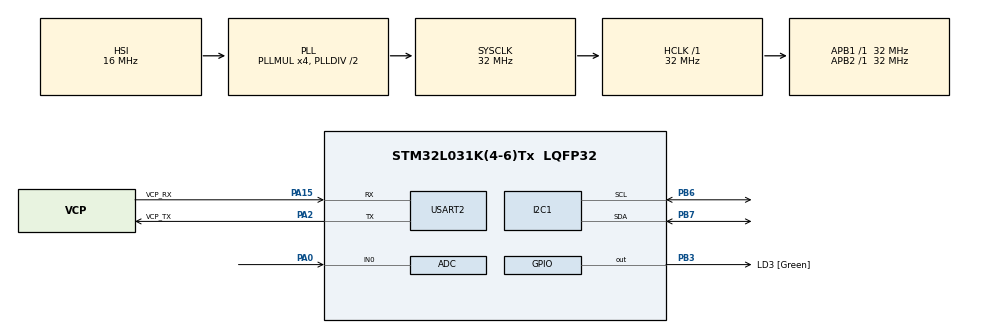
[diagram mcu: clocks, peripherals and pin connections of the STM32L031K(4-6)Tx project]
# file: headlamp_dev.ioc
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ADC.ContinuousConvMode=ENABLE
ADC.Resolution=ADC_RESOLUTION_8B
I2C1.Timing=0x00707CBB
Mcu.Family=STM32L0
Mcu.Name=STM32L031K(4-6)Tx
Mcu.Package=LQFP32
NVIC.TIM21_IRQn=true\:0\:0\:false\:false\:true\:true\:true
PA0-CK_IN.Mode=IN0
PA0-CK_IN.Signal=ADC_IN0
PA13.GPIO_Label=TMS
PA13.Mode=Serial_Wire
PA13.Signal=SYS_SWDIO
PA14.GPIO_Label=TCK
PA14.Mode=Serial_Wire
PA14.Signal=SYS_SWCLK
PA15.GPIO_Label=VCP_RX
PA15.Mode=Asynchronous
PA15.Signal=USART2_RX
PA2.GPIO_Label=VCP_TX
PA2.Mode=Asynchronous
PA2.Signal=USART2_TX
PB3.GPIO_Label=LD3 [Green]
PB3.Signal=GPIO_Output
PB6.Mode=I2C
PB6.Signal=I2C1_SCL
PB7.Mode=I2C
PB7.Signal=I2C1_SDA
PC14-OSC32_IN.Mode=LSE-External-Oscillator
PC14-OSC32_IN.Signal=RCC_OSC32_IN
PC15-OSC32_OUT.Mode=LSE-External-Oscillator
PC15-OSC32_OUT.Signal=RCC_OSC32_OUT
ProjectManager.HeapSize=0x200
ProjectManager.StackSize=0x400
ProjectManager.TargetToolchain=SW4STM32
RCC.AHBFreq_Value=32000000
RCC.APB1Freq_Value=32000000
RCC.APB1TimFreq_Value=32000000
RCC.APB2Freq_Value=32000000
RCC.APB2TimFreq_Value=32000000
RCC.HCLKFreq_Value=32000000
RCC.HSE_VALUE=8000000
RCC.HSI16_VALUE=16000000
RCC.HSI48_VALUE=48000000
RCC.HSI_VALUE=16000000
RCC.MSI_VALUE=2097000
RCC.PLLMUL=RCC_PLLMUL_4
RCC.SYSCLKFreq_VALUE=32000000
RCC.SYSCLKSource=RCC_SYSCLKSOURCE_PLLCLK
RCC.VCOOutputFreq_Value=64000000
TIM21.AutoReloadPreload=TIM_AUTORELOAD_PRELOAD_ENABLE
TIM21.Prescaler=32000
USART2.VirtualMode-Asynchronous=VM_ASYNC
VP_TIM21_VS_ClockSourceINT.Mode=Internal
board=NUCLEO-L031K6

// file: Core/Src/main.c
/* USER CODE BEGIN Header */
/**
  ******************************************************************************
  * @file           : main.c
  * @brief          : Main program body
  ******************************************************************************
  * @attention
  *
  * <h2><center>&copy; Copyright (c) 2021 STMicroelectronics.
  * All rights reserved.</center></h2>
  *
  * This software component is licensed by ST under BSD 3-Clause license,
  * the "License"; You may not use this file except in compliance with the
  * License. You may obtain a copy of the License at:
  *                        opensource.org/licenses/BSD-3-Clause
  *
  ******************************************************************************
  */
/* USER CODE END Header */
#include "main.h"

/* USER CODE BEGIN Includes */
#include "mpu_util.h"
//#include <stdio.h>
#include <math.h>
/* USER CODE END Includes */

ADC_HandleTypeDef hadc;

I2C_HandleTypeDef hi2c1;

TIM_HandleTypeDef htim21;

UART_HandleTypeDef huart2;

void SystemClock_Config(void);
static void MX_GPIO_Init(void);
static void MX_USART2_UART_Init(void);
static void MX_I2C1_Init(void);
static void MX_TIM21_Init(void);
static void MX_ADC_Init(void);

/* USER CODE BEGIN 0 */
int __io_putchar(int ch)
{
    HAL_UART_Transmit(&huart2, (uint8_t*)&ch, 1, 1000);
    return 0;
}

HAL_StatusTypeDef init_mpu6050()
{
    HAL_StatusTypeDef err = 0;
    uint8_t who = 0;

    /*
     * check to see if the mpu6050 is connected
     * this should return a value of '104'
     * for who if its working. Doesn't need to be
     * powered on for this to work
     */
    err = HAL_I2C_Mem_Read(
		   &hi2c1
		  , MPU_I2C_ADDRESS
		  , MPU_WHO_AM_I
		  , 1 // mem address size
		  , &who
		  , 1 // buff size
		  , 1000 // timeout
		  );
    if(err)
    	return err;

    /*
     * set the power register to on
     */
    uint8_t pwr_reg_val = 0;
    err = HAL_I2C_Mem_Write(
    		  &hi2c1
			, MPU_I2C_ADDRESS
			, MPU_PWR_MGMT_1
			, 1 // mem address size
			, &pwr_reg_val
			, 1 //buff size
			, 1000 // time out
			);
    if(err)
    	return err;
    /*
     * set the sample rate
     * sample rate = gyro rate / (1 + sample reg)
     * if DLPF is off gyro = 8khz if on gyro = 1khz
     */
    uint8_t sample_rate = 0;
    err = HAL_I2C_Mem_Write(
    		  &hi2c1
			, MPU_I2C_ADDRESS
			, MPU_SMPLRT_DIV
			, 1 // mem address size
			, &sample_rate
			, 1 //buff size
			, 1000 // time out
			);
    if(err)
    	return err;

    /*
     * configure the gyro
     * no self test XG_ST = 0 YG_ST = 0 ZG_ST = 0
     * lowest full range scale GFS_SEL = 0 => +-250 deg/sec
     */
    uint8_t gyro_config = 0;
    err = HAL_I2C_Mem_Write(
    		  &hi2c1
			, MPU_I2C_ADDRESS
			, MPU_GYRO_CONFIG
			, 1 // mem address size
			, &gyro_config
			, 1 //buff size
			, 1000 // time out
			);

    if(err)
    	return err;

    /*
     * configure the accelerometer
     * no self test XA_ST = 0 YA_ST = 0 ZA_ST = 0
     * lowest full range scale AFS_SEL = 0 => +-2g
     */
    uint8_t accel_config = 0;
    err = HAL_I2C_Mem_Write(
    		  &hi2c1
			, MPU_I2C_ADDRESS
			, MPU_ACCEL_CONFIG
			, 1 // mem address size
			, &accel_config
			, 1 //buff size
			, 1000 // time out
			);

    if(err)
    	return err;

    /*
     * configure the digital low pass filter
     */
    uint8_t dlpf_val = 0;
    err = HAL_I2C_Mem_Write(
    		  &hi2c1
			, MPU_I2C_ADDRESS
			, MPU_CONFIG
			, 1 // mem address size
			, &dlpf_val
			, 1 //buff size
			, 1000 // time out
			);
    if(err)
    	return err;

    //printf("Initialization Complete: id %d\r\n", who);
    return 0;
}

HAL_StatusTypeDef get_accel(float* accel_data)
{
	/*
	 * there are 6x 1-byte registers on the mcu6050 for
	 * the accelerometer: X-high X-low Y-high Y-low Z-high Z-low
	 * this will pack the high and low bytes for each into a single
	 * int16
	 */

	HAL_StatusTypeDef err = 0;
	uint8_t accel_buffer[6];
	int16_t accel_vals[3]; // this should be signed?

    err = HAL_I2C_Mem_Read(
		   &hi2c1
		  , MPU_I2C_ADDRESS
		  , MPU_ACCEL_XOUT_H // start at x-high and read 6 after
		  , 1 // mem address size
		  , accel_buffer
		  , 6 // buff size
		  , 1000 // timeout
		  );
    if(err)
    	return err;

    accel_vals[0] = (uint16_t)(accel_buffer[0] << 8  | accel_buffer[1]);
    accel_vals[1] = (uint16_t)(accel_buffer[2] << 8  | accel_buffer[3]);
    accel_vals[2] = (uint16_t)(accel_buffer[4] << 8  | accel_buffer[5]);

    for(int ii = 0; ii < 3; ++ii)
    {
		accel_data[ii] = accel_vals[ii] / 16384.0;
    }

	return err;
}

HAL_StatusTypeDef get_gyro(float* gyro_data)
{
	HAL_StatusTypeDef err = 0;
	uint8_t gyro_buffer[6];
	int16_t gyro_vals[3]; // this should be signed?

    err = HAL_I2C_Mem_Read(
		   &hi2c1
		  , MPU_I2C_ADDRESS
		  , MPU_GYRO_XOUT_H // start at x-high and read 6 after
		  , 1 // mem address size
		  , gyro_buffer
		  , 6 // buff size
		  , 1000 // timeout
		  );
    if(err)
    	return err;

    gyro_vals[0] = (uint16_t)(gyro_buffer[0] << 8  | gyro_buffer[1]);
    gyro_vals[1] = (uint16_t)(gyro_buffer[2] << 8  | gyro_buffer[3]);
    gyro_vals[2] = (uint16_t)(gyro_buffer[4] << 8  | gyro_buffer[5]);

    for(int ii = 0; ii < 3; ++ii)
    {
		gyro_data[ii] = gyro_vals[ii] / 131.0;
    }

	return err;
}

/* USER CODE END 0 */

int main(void)
{
  /* USER CODE BEGIN 1 */
	uint32_t time_a, time_b;
	  float accel_angle_x, angle_x = 0;
	  float adc_val;
	  float accel_data[3];
	  float gyro_data[3];
	  int err = 0;
	  uint32_t adc_val_raw;

  /* USER CODE END 1 */

  /* MCU Configuration--------------------------------------------------------*/

  /* Reset of all peripherals, Initializes the Flash interface and the Systick. */
  HAL_Init();

  /* Configure the system clock */
  SystemClock_Config();

  /* Initialize all configured peripherals */
  MX_GPIO_Init();
  MX_USART2_UART_Init();
  MX_I2C1_Init();
  MX_TIM21_Init();
  MX_ADC_Init();
  /* USER CODE BEGIN 2 */
	HAL_TIM_Base_Start(&htim21);

	err = init_mpu6050();
	if(err)
	{
		//printf("ERROR in init: %d", err);
		while(1);
	}
	get_accel(accel_data);
	angle_x  = 180  /  M_PI* atan2(accel_data[2],accel_data[0]);
	HAL_ADC_Start(&hadc);
  /* USER CODE END 2 */

  /* Infinite loop */
  /* USER CODE BEGIN WHILE */
  while (1)
  {
	  time_a = htim21.Instance->CNT;
	  get_accel(accel_data);
	  get_gyro(gyro_data);
	  adc_val_raw = HAL_ADC_GetValue(&hadc);
	  adc_val = adc_val_raw * 180.0 / 256;
//	  printf("xa: %f ya: %f za: %f  ", accel_data[0], accel_data[1], accel_data[2]);
//	  printf("xg: %f yg: %f zg: %f  ", gyro_data[0], gyro_data[1], gyro_data[2]);
//	  HAL_Delay(100);

        //printf("angle %f \r\n", angle_x);
	  if(adc_val < angle_x)
	      HAL_GPIO_WritePin(GPIOB, GPIO_PIN_3, GPIO_PIN_SET);
	  else
	      HAL_GPIO_WritePin(GPIOB, GPIO_PIN_3, GPIO_PIN_RESET);

	  time_b = htim21.Instance->CNT;
	  time_a = time_b - time_a;

	  //HAL_GPIO_TogglePin( GPIOB, GPIO_PIN_3);
	  //printf("time %lu \r\n", time_a);
		accel_angle_x  = 180  /  M_PI* atan2(accel_data[1],accel_data[2]);
		angle_x = 0.98 * (angle_x + (gyro_data[0] * time_a / 1000.0)) + (.02 * accel_angle_x);

	  //printf("%lu\r\n", adc_val);
    /* USER CODE END WHILE */

  }
}

void SystemClock_Config(void)
{
  RCC_OscInitTypeDef RCC_OscInitStruct = {0};
  RCC_ClkInitTypeDef RCC_ClkInitStruct = {0};
  RCC_PeriphCLKInitTypeDef PeriphClkInit = {0};

  /** Configure the main internal regulator output voltage
  */
  __HAL_PWR_VOLTAGESCALING_CONFIG(PWR_REGULATOR_VOLTAGE_SCALE1);
  /** Initializes the RCC Oscillators according to the specified parameters
  * in the RCC_OscInitTypeDef structure.
  */
  RCC_OscInitStruct.OscillatorType = RCC_OSCILLATORTYPE_HSI;
  RCC_OscInitStruct.HSIState = RCC_HSI_ON;
  RCC_OscInitStruct.HSICalibrationValue = RCC_HSICALIBRATION_DEFAULT;
  RCC_OscInitStruct.PLL.PLLState = RCC_PLL_ON;
  RCC_OscInitStruct.PLL.PLLSource = RCC_PLLSOURCE_HSI;
  RCC_OscInitStruct.PLL.PLLMUL = RCC_PLLMUL_4;
  RCC_OscInitStruct.PLL.PLLDIV = RCC_PLLDIV_2;
  if (HAL_RCC_OscConfig(&RCC_OscInitStruct) != HAL_OK)
  {
    Error_Handler();
  }
  /** Initializes the CPU, AHB and APB buses clocks
  */
  RCC_ClkInitStruct.ClockType = RCC_CLOCKTYPE_HCLK|RCC_CLOCKTYPE_SYSCLK
                              |RCC_CLOCKTYPE_PCLK1|RCC_CLOCKTYPE_PCLK2;
  RCC_ClkInitStruct.SYSCLKSource = RCC_SYSCLKSOURCE_PLLCLK;
  RCC_ClkInitStruct.AHBCLKDivider = RCC_SYSCLK_DIV1;
  RCC_ClkInitStruct.APB1CLKDivider = RCC_HCLK_DIV1;
  RCC_ClkInitStruct.APB2CLKDivider = RCC_HCLK_DIV1;

  if (HAL_RCC_ClockConfig(&RCC_ClkInitStruct, FLASH_LATENCY_1) != HAL_OK)
  {
    Error_Handler();
  }
  PeriphClkInit.PeriphClockSelection = RCC_PERIPHCLK_USART2|RCC_PERIPHCLK_I2C1;
  PeriphClkInit.Usart2ClockSelection = RCC_USART2CLKSOURCE_PCLK1;
  PeriphClkInit.I2c1ClockSelection = RCC_I2C1CLKSOURCE_PCLK1;
  if (HAL_RCCEx_PeriphCLKConfig(&PeriphClkInit) != HAL_OK)
  {
    Error_Handler();
  }
}

static void MX_ADC_Init(void)
{

  ADC_ChannelConfTypeDef sConfig = {0};

  /** Configure the global features of the ADC (Clock, Resolution, Data Alignment and number of conversion)
  */
  hadc.Instance = ADC1;
  hadc.Init.OversamplingMode = DISABLE;
  hadc.Init.ClockPrescaler = ADC_CLOCK_SYNC_PCLK_DIV2;
  hadc.Init.Resolution = ADC_RESOLUTION_8B;
  hadc.Init.SamplingTime = ADC_SAMPLETIME_1CYCLE_5;
  hadc.Init.ScanConvMode = ADC_SCAN_DIRECTION_FORWARD;
  hadc.Init.DataAlign = ADC_DATAALIGN_RIGHT;
  hadc.Init.ContinuousConvMode = ENABLE;
  hadc.Init.DiscontinuousConvMode = DISABLE;
  hadc.Init.ExternalTrigConvEdge = ADC_EXTERNALTRIGCONVEDGE_NONE;
  hadc.Init.ExternalTrigConv = ADC_SOFTWARE_START;
  hadc.Init.DMAContinuousRequests = DISABLE;
  hadc.Init.EOCSelection = ADC_EOC_SINGLE_CONV;
  hadc.Init.Overrun = ADC_OVR_DATA_PRESERVED;
  hadc.Init.LowPowerAutoWait = DISABLE;
  hadc.Init.LowPowerFrequencyMode = DISABLE;
  hadc.Init.LowPowerAutoPowerOff = DISABLE;
  if (HAL_ADC_Init(&hadc) != HAL_OK)
  {
    Error_Handler();
  }
  /** Configure for the selected ADC regular channel to be converted.
  */
  sConfig.Channel = ADC_CHANNEL_0;
  sConfig.Rank = ADC_RANK_CHANNEL_NUMBER;
  if (HAL_ADC_ConfigChannel(&hadc, &sConfig) != HAL_OK)
  {
    Error_Handler();
  }

}

static void MX_I2C1_Init(void)
{

  hi2c1.Instance = I2C1;
  hi2c1.Init.Timing = 0x00707CBB;
  hi2c1.Init.OwnAddress1 = 0;
  hi2c1.Init.AddressingMode = I2C_ADDRESSINGMODE_7BIT;
  hi2c1.Init.DualAddressMode = I2C_DUALADDRESS_DISABLE;
  hi2c1.Init.OwnAddress2 = 0;
  hi2c1.Init.OwnAddress2Masks = I2C_OA2_NOMASK;
  hi2c1.Init.GeneralCallMode = I2C_GENERALCALL_DISABLE;
  hi2c1.Init.NoStretchMode = I2C_NOSTRETCH_DISABLE;
  if (HAL_I2C_Init(&hi2c1) != HAL_OK)
  {
    Error_Handler();
  }
  /** Configure Analogue filter
  */
  if (HAL_I2CEx_ConfigAnalogFilter(&hi2c1, I2C_ANALOGFILTER_ENABLE) != HAL_OK)
  {
    Error_Handler();
  }
  /** Configure Digital filter
  */
  if (HAL_I2CEx_ConfigDigitalFilter(&hi2c1, 0) != HAL_OK)
  {
    Error_Handler();
  }

}

static void MX_TIM21_Init(void)
{

  TIM_ClockConfigTypeDef sClockSourceConfig = {0};
  TIM_MasterConfigTypeDef sMasterConfig = {0};

  htim21.Instance = TIM21;
  htim21.Init.Prescaler = 32000;
  htim21.Init.CounterMode = TIM_COUNTERMODE_UP;
  htim21.Init.Period = 65535;
  htim21.Init.ClockDivision = TIM_CLOCKDIVISION_DIV1;
  htim21.Init.AutoReloadPreload = TIM_AUTORELOAD_PRELOAD_ENABLE;
  if (HAL_TIM_Base_Init(&htim21) != HAL_OK)
  {
    Error_Handler();
  }
  sClockSourceConfig.ClockSource = TIM_CLOCKSOURCE_INTERNAL;
  if (HAL_TIM_ConfigClockSource(&htim21, &sClockSourceConfig) != HAL_OK)
  {
    Error_Handler();
  }
  sMasterConfig.MasterOutputTrigger = TIM_TRGO_RESET;
  sMasterConfig.MasterSlaveMode = TIM_MASTERSLAVEMODE_DISABLE;
  if (HAL_TIMEx_MasterConfigSynchronization(&htim21, &sMasterConfig) != HAL_OK)
  {
    Error_Handler();
  }

}

static void MX_USART2_UART_Init(void)
{

  huart2.Instance = USART2;
  huart2.Init.BaudRate = 115200;
  huart2.Init.WordLength = UART_WORDLENGTH_8B;
  huart2.Init.StopBits = UART_STOPBITS_1;
  huart2.Init.Parity = UART_PARITY_NONE;
  huart2.Init.Mode = UART_MODE_TX_RX;
  huart2.Init.HwFlowCtl = UART_HWCONTROL_NONE;
  huart2.Init.OverSampling = UART_OVERSAMPLING_16;
  huart2.Init.OneBitSampling = UART_ONE_BIT_SAMPLE_DISABLE;
  huart2.AdvancedInit.AdvFeatureInit = UART_ADVFEATURE_NO_INIT;
  if (HAL_UART_Init(&huart2) != HAL_OK)
  {
    Error_Handler();
  }

}

static void MX_GPIO_Init(void)
{
  GPIO_InitTypeDef GPIO_InitStruct = {0};

  /* GPIO Ports Clock Enable */
  __HAL_RCC_GPIOC_CLK_ENABLE();
  __HAL_RCC_GPIOA_CLK_ENABLE();
  __HAL_RCC_GPIOB_CLK_ENABLE();

  /*Configure GPIO pin Output Level */
  HAL_GPIO_WritePin(LD3_GPIO_Port, LD3_Pin, GPIO_PIN_RESET);

  /*Configure GPIO pin : LD3_Pin */
  GPIO_InitStruct.Pin = LD3_Pin;
  GPIO_InitStruct.Mode = GPIO_MODE_OUTPUT_PP;
  GPIO_InitStruct.Pull = GPIO_NOPULL;
  GPIO_InitStruct.Speed = GPIO_SPEED_FREQ_LOW;
  HAL_GPIO_Init(LD3_GPIO_Port, &GPIO_InitStruct);

}

void Error_Handler(void)
{
  __disable_irq();
  while (1)
  {
  }
}

/************************ (C) COPYRIGHT STMicroelectronics *****END OF FILE****/
